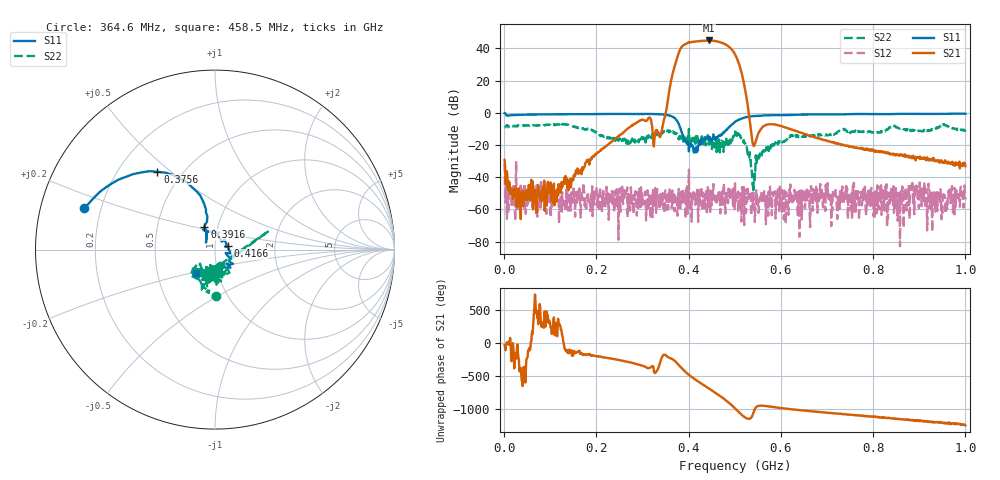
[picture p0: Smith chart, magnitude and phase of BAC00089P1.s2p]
!measured: 2026-10-29T11:12:05
!cal_instance: BB
!cal_created: 2026-10-29T10:46
!cal_file: SOLT_12_1_00M-1_00G_1001pt.cal
!port1_delay_ps: 0.0
!port2_delay_ps: 0.0
!host: lindon
! Created with skrf 2.1.0 (http://scikit-rf.org).
# Hz S RI R 50.0
!freq ReS11 ImS11 ReS21 ImS21 ReS12 ImS12 ReS22 ImS22
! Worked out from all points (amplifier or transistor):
!   1001 points, 1 MHz to 1 GHz, reference 50 ohm
!   highest |S21| = 44.9 dB at 443.6 MHz (marker M1)
!   |S21| within 3 dB of that: 388.6 MHz to 483.1 MHz (94.52 MHz wide, 21.7 % of centre)
!   unconditionally stable (mu >= 1): start of sweep to 400.1 MHz; 400.9 MHz to 438.5 MHz; 500.5 MHz to end of sweep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
!   at 166.8 MHz: K = 1806.41, MAG = -27.2 dB, |S12| = -51.9 dB
!   at 500.5 MHz: K = 1.00, MSG = 40.0 dB, |S12| = -43.7 dB
!   at 1 GHz: K = 1315.10, MAG = -23.9 dB, |S12| = -53.8 dB
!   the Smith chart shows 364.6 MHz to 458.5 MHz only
!   S11 on the Smith chart (normalised r, x): 364.6 MHz: 0.14, +0.15; 375.6 MHz: 0.37, +0.45; 391.6 MHz: 0.86, +0.22; 416.6 MHz: 1.15, +0.05; 458.5 MHz: 0.78, -0.21
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1000000  -0.3036 0.9406  0.0304 -0.0161  -0.00692 0.0256  0.3442 -0.0453
1.67833e8  0.519 -0.7389  -0.0109 -0.00607  -0.00249 0.00269  0.0197 -0.3195
3.34666e8  -0.7455 -0.5154  0.2192 -0.0409  0.00123 0.00234  0.0889 -0.2152
3.64636e8  -0.7278 0.2301  -6.891 13.23  -0.00158 -0.00355  0.00797 -0.2568
3.75625e8  -0.3204 0.434  34.58 40.62  0.000626 0.000123  -0.071 -0.2006
3.84616e8  -0.0606 0.2557  104.5 -32.27  -0.00122 -0.00342  -0.0851 -0.1513
3.91609e8  -0.0593 0.1258  51.42 -121.4  0.00325 0.000468  -0.0774 -0.1228
4.01599e8  -0.0438 0.1012  -94.42 -119.5  0.000461 0.00162  -0.0438 -0.1499
4.09591e8  0.0142 0.0848  -156 -28.43  0.000918 0.00323  -0.0607 -0.1704
4.16584e8  0.0701 0.0196  -148.7 67.38  0.000845 0.0028  -0.0401 -0.133
4.3057e8  0.0485 -0.1245  -5.111 170.1  -0.000419 0.00335  -0.0116 -0.1083
4.43557e8  -0.0639 -0.1298  146 96.64  -0.00137 -0.00258  -0.0539 -0.0877
4.51549e8  -0.0919 -0.1311  172.8 -9.057  0.00204 0.00025  -0.0474 -0.1582
4.58542e8  -0.1061 -0.1297  135.2 -98.39  -0.000759 0.0016  -0.000884 -0.1499
4.69531e8  -0.1999 -0.0638  2.263 -152.4  0.00174 0.00177  0.0382 -0.0764
4.81519e8  -0.2455 0.1377  -113.1 -60.46  0.00115 -0.00344  0.02 -0.1552
4.92508e8  -0.1232 0.4042  -75.86 57.89  0.000312 0.00202  -0.0128 -0.1474
5.005e8  0.09 0.5202  0.541 64.68  -0.00541 0.0036  -0.1177 -0.2565
5.18482e8  0.5825 0.3757  8.897 -5.025  0.00147 -0.00349  -0.107 -0.0565
6.67333e8  0.192 -0.8699  0.1321 0.1267  -0.000239 -0.00168  0.1244 -0.1507
8.34166e8  -0.3535 -0.8364  0.0327 -0.0425  -0.000867 -0.00179  0.0265 -0.3494
1e9  -0.6673 -0.6513  -0.0218 -0.00383  -0.000533 0.00198  -0.0681 -0.2844
